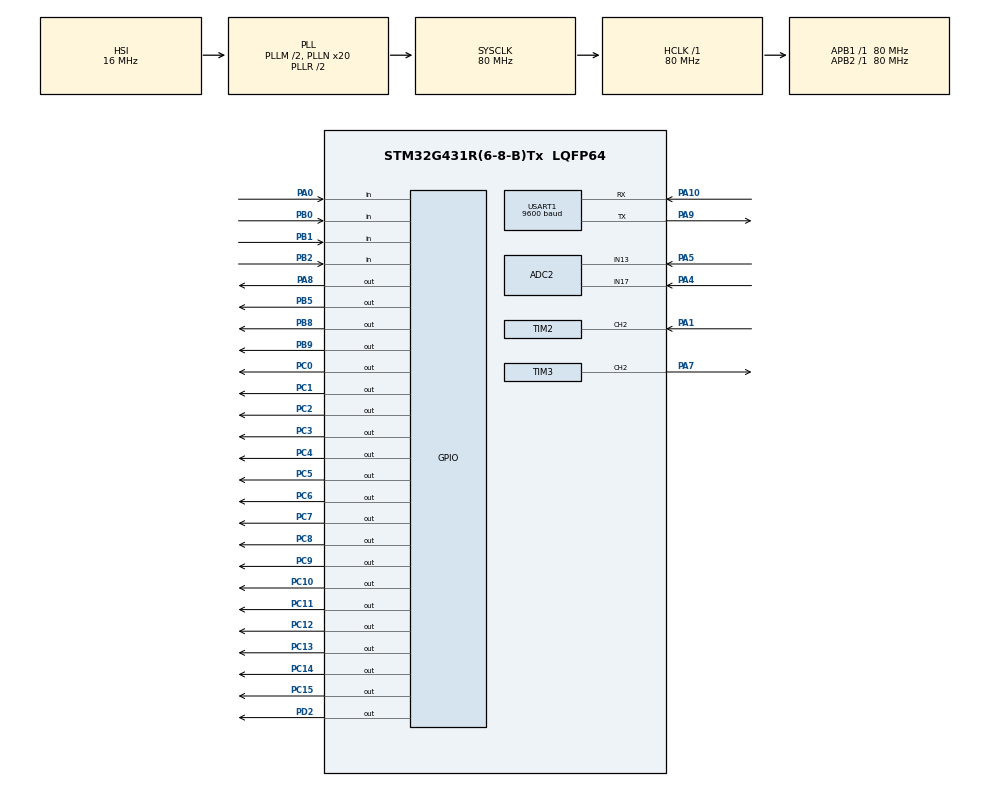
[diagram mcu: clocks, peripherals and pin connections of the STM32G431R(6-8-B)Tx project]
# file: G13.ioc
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ADC2.Channel-0\#ChannelRegularConversion=ADC_CHANNEL_17
ADC2.Channel-1\#ChannelRegularConversion=ADC_CHANNEL_13
ADC2.NbrOfConversion=2
ADC2.NbrOfConversionFlag=1
ADC2.OffsetNumber-0\#ChannelRegularConversion=ADC_OFFSET_NONE
ADC2.OffsetNumber-1\#ChannelRegularConversion=ADC_OFFSET_NONE
ADC2.Rank-0\#ChannelRegularConversion=1
ADC2.Rank-1\#ChannelRegularConversion=2
ADC2.SamplingTime-0\#ChannelRegularConversion=ADC_SAMPLETIME_640CYCLES_5
ADC2.SamplingTime-1\#ChannelRegularConversion=ADC_SAMPLETIME_640CYCLES_5
Mcu.Family=STM32G4
Mcu.Name=STM32G431R(6-8-B)Tx
Mcu.Package=LQFP64
NVIC.PriorityGroup=NVIC_PRIORITYGROUP_4
NVIC.TIM2_IRQn=true\:0\:0\:false\:false\:true\:true\:true\:true
NVIC.USART1_IRQn=true\:0\:0\:false\:false\:true\:true\:true\:true
PA0.Signal=GPIO_Input
PA1.Signal=S_TIM2_CH2
PA10.Mode=Asynchronous
PA10.Signal=USART1_RX
PA4.Mode=IN17-Single-Ended
PA4.Signal=ADC2_IN17
PA5.Mode=IN13-Single-Ended
PA5.Signal=ADC2_IN13
PA7.Signal=S_TIM3_CH2
PA8.Signal=GPIO_Output
PA9.Mode=Asynchronous
PA9.Signal=USART1_TX
PB0.Signal=GPIO_Input
PB1.Signal=GPIO_Input
PB2.Signal=GPIO_Input
PB5.Signal=GPIO_Output
PB8-BOOT0.Signal=GPIO_Output
PB9.Signal=GPIO_Output
PC0.Signal=GPIO_Output
PC1.Signal=GPIO_Output
PC10.Signal=GPIO_Output
PC11.Signal=GPIO_Output
PC12.Signal=GPIO_Output
PC13.Signal=GPIO_Output
PC14-OSC32_IN.Signal=GPIO_Output
PC15-OSC32_OUT.Signal=GPIO_Output
PC2.Signal=GPIO_Output
PC3.Signal=GPIO_Output
PC4.Signal=GPIO_Output
PC5.Signal=GPIO_Output
PC6.Signal=GPIO_Output
PC7.Signal=GPIO_Output
PC8.Signal=GPIO_Output
PC9.Signal=GPIO_Output
PD2.Signal=GPIO_Output
PF0-OSC_IN.Mode=HSE-External-Oscillator
PF0-OSC_IN.Signal=RCC_OSC_IN
PF1-OSC_OUT.Mode=HSE-External-Oscillator
PF1-OSC_OUT.Signal=RCC_OSC_OUT
ProjectManager.HeapSize=0x200
ProjectManager.StackSize=0x400
ProjectManager.TargetToolchain=MDK-ARM V5
RCC.ADC12Freq_Value=80000000
RCC.AHBFreq_Value=80000000
RCC.APB1Freq_Value=80000000
RCC.APB1TimFreq_Value=80000000
RCC.APB2Freq_Value=80000000
RCC.APB2TimFreq_Value=80000000
RCC.CortexFreq_Value=80000000
RCC.EXTERNAL_CLOCK_VALUE=12288000
RCC.HCLKFreq_Value=80000000
RCC.HSE_VALUE=24000000
RCC.HSI48_VALUE=48000000
RCC.HSI_VALUE=16000000
RCC.LSE_VALUE=32768
RCC.PLLM=RCC_PLLM_DIV2
RCC.PLLN=20
RCC.SYSCLKFreq_VALUE=80000000
RCC.SYSCLKSource=RCC_SYSCLKSOURCE_PLLCLK
RCC.USBFreq_Value=80000000
RCC.VCOOutputFreq_Value=160000000
SH.S_TIM2_CH2.0=TIM2_CH2,Input_Capture2_from_TI2
SH.S_TIM3_CH2.0=TIM3_CH2,PWM Generation2 CH2
TIM2.Channel-Input_Capture2_from_TI2=TIM_CHANNEL_2
TIM2.PeriodNoDither=\ 0xffffffff
TIM2.Prescaler=79
TIM3.AutoReloadPreload=TIM_AUTORELOAD_PRELOAD_ENABLE
TIM3.Channel-PWM\ Generation2\ CH2=TIM_CHANNEL_2
TIM3.PeriodNoDither=999
TIM3.Prescaler=79
TIM3.PulseNoDither_2=250
USART1.BaudRate=9600
USART1.VirtualMode-Asynchronous=VM_ASYNC
VP_SYS_VS_DBSignals.Mode=DisableDeadBatterySignals
board=custom

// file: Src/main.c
/* USER CODE BEGIN Header */
/**
  ******************************************************************************
  * @file           : main.c
  * @brief          : Main program body
  ******************************************************************************
  * @attention
  *
  * <h2><center>&copy; Copyright (c) 2021 STMicroelectronics.
  * All rights reserved.</center></h2>
  *
  * This software component is licensed by ST under BSD 3-Clause license,
  * the "License"; You may not use this file except in compliance with the
  * License. You may obtain a copy of the License at:
  *                        opensource.org/licenses/BSD-3-Clause
  *
  ******************************************************************************
  */
/* USER CODE END Header */

#include "main.h"
#include "adc.h"
#include "tim.h"
#include "usart.h"
#include "gpio.h"

/* USER CODE BEGIN Includes */
#include "stdio.h"
#include "string.h"
#include "key.h"
#include "led.h"
#include "i2c_hal.h"
/* USER CODE END Includes */

void SystemClock_Config(void);

/* USER CODE BEGIN 0 */

#define Display_DATA 0
#define Display_PARA 1
#define Display_REC 2

u8 display_mode = 0;

//1

double PA4_Temp = 0,PA5_Temp = 0;
extern double PA4_V;
extern double PA5_V;

//2

u8 X = 1;
u8 Y = 2;

//3

u8 N = 0;
double A = 3.20;
double T = 0.23;
double H = 1.75;
_Bool change_3;

//ohter

_Bool change_f = 0; // 0 倍频 1分频

//记录数组
double PA4_Buf[4][100];// 记录 0 原电压值 ，1 A,2 T,3 H
double PA5_Buf[4][100];

u8 PA4_cnt = 0;
u8 PA4_cnt2  = 0;

u8 PA5_cnt = 0;
u8 PA5_cnt2 = 0;

//LED
u8 led_ctrl = 0x00;
uint32_t ledTick = 0;

void Led_Proc(void)
{

	if(uwTick - ledTick <100)return;
	ledTick = uwTick;

	if(change_f == 0)
		led_ctrl |= 0x01;
	else
		led_ctrl &= ~0x01;

	if(change_f == 1)
		led_ctrl |= 0x02;
	else
		led_ctrl &= ~0x02;

	if(PA4_Temp > PA5_Temp * Y)
		led_ctrl ^= 0x04;
	else
		led_ctrl &=~0x04;

	Led_Control(led_ctrl);
}

//KEY

uint32_t longTick4 = 0;

uint32_t keyTick = 0;
void Key_Proc(void)
{
	if(uwTick - keyTick < 20)return;
	keyTick = uwTick;

	Key_Read();

	if(Trg & 0x01)
	{
		LCD_Clear(Black);
		display_mode = (display_mode + 1) % 3;

		change_f = 0;
	}

	if(Trg & 0x02)
	{
		if(display_mode == Display_PARA)
		{
			X++;
			if(X == 5)
				X = 1;
		EEPROM_Write(0x01,X);
		}
	}

	if(Trg & 0x04)
	{
		if(display_mode == Display_PARA)
		{
			Y++;
			if(Y == 5)
				Y = 1;
		 EEPROM_Write(0x02,Y);
		}
	}

	if(Trg & 0x08)
	{
		longTick4 = uwTick;
	}
	else if(Cont & 0x08 && uwTick - longTick4 > 1000)//长按
	{
		if(display_mode == Display_REC)
		{
			PA4_cnt = 0;
			PA4_cnt2 = 0;
			N = 0;
			memset(PA4_Buf,'\0',sizeof(PA4_Buf));
		}
	}
	else if(Up & 0x08 && uwTick - longTick4 < 1000) //短按
	{
		if(display_mode == Display_DATA)
		{

			PA4_Temp = PA4_V;
			PA5_Temp = PA5_V;

			//记录
			PA4_Buf[0][PA4_cnt2] = PA4_Temp;
			PA5_Buf[0][PA5_cnt2] = PA5_Temp;

			u8 i;
			double temp = 0,sum = 0;
			//最大值
			for(i = 0;i<= PA4_cnt;i++)
			{
				if(temp < PA4_Buf[0][i])
					temp = PA4_Buf[0][i];
			}
			PA4_Buf[1][0] = temp;

			//最小值
			temp = 3.3;
			for(i = 0;i<= PA4_cnt;i++)
			{
				if(temp > PA4_Buf[0][i])
					temp = PA4_Buf[0][i];
			}
			PA4_Buf[2][0] = temp;
			temp = 0;
			//平均值
			for(i = 0;i<= PA4_cnt;i++)
			{
					sum+= PA4_Buf[0][i];
			}

			PA4_Buf[3][0] = sum/(PA4_cnt+1); //99就满了
			sum = 0;

			PA4_cnt++;
			PA4_cnt2++;

			if(N<100)//记录次数   ---题目没有说明最多加到多少
				N++;
			if(PA4_cnt == 100) //考虑第一遍，用两个计数值。
				PA4_cnt = 99;

			if(PA4_cnt2 == 100)
				PA4_cnt2 = 0;

			//最大值

			for(i = 0;i<= PA5_cnt;i++)
			{
				if(temp < PA5_Buf[0][i])
					temp = PA5_Buf[0][i];
			}
			PA5_Buf[1][0] = temp;

			//最小值
			temp = 3.3;
			for(i = 0;i<= PA5_cnt;i++)
			{
				if(temp > PA5_Buf[0][i])
					temp = PA5_Buf[0][i];
			}
			PA5_Buf[2][0] = temp;
			temp = 0;
			//平均值
			sum = 0;
			for(i = 0;i<= PA5_cnt;i++)
			{
					sum+= PA5_Buf[0][i];
			}

			PA5_Buf[3][0] = sum/(PA5_cnt+1); //99就满了
			sum = 0;

			PA5_cnt++;
			PA5_cnt2++;

			if(PA5_cnt == 100)
				PA5_cnt = 99;

			if(PA5_cnt2 == 100)
				PA5_cnt2 = 0;
		}

		if(display_mode == Display_PARA)
		{
			change_f = !change_f;
		}

		if(display_mode == Display_REC)
		{
			change_3 = !change_3;
			LCD_Clear(Black);
		}

	}

}

//PA1
uint32_t uwIC2Value1 = 0;
uint32_t uwIC2Value2 = 0;
uint32_t uwDiffCapture = 0;

/* Capture index */
uint16_t uhCaptureIndex = 0;

/* Frequency Value */
uint32_t uwFrequency = 0;

uint32_t F_PA1;

void HAL_TIM_IC_CaptureCallback(TIM_HandleTypeDef *htim)
{
	if(htim == &htim2)
	{
		if (htim->Channel == HAL_TIM_ACTIVE_CHANNEL_2)
		{
			if(uhCaptureIndex == 0)
			{
				/* Get the 1st Input Capture value */
				uwIC2Value1 = HAL_TIM_ReadCapturedValue(htim, TIM_CHANNEL_2);
				uhCaptureIndex = 1;
			}
			else if(uhCaptureIndex == 1)
			{
				/* Get the 2nd Input Capture value */
				uwIC2Value2 = HAL_TIM_ReadCapturedValue(htim, TIM_CHANNEL_2);

				/* Capture computation */
				if (uwIC2Value2 > uwIC2Value1)
				{
					uwDiffCapture = (uwIC2Value2 - uwIC2Value1);
				}
				else if (uwIC2Value2 < uwIC2Value1)
				{
					/* 0xFFFF is max TIM1_CCRx value */
					uwDiffCapture = ((0xFFFFFFFF - uwIC2Value1) + uwIC2Value2) + 1;
				}
				else
				{
					/* If capture values are equal, we have reached the limit of frequency
						 measures */
					Error_Handler();
				}

				/* Frequency computation: for this example TIMx (TIM1) is clocked by
					 APB2Clk */
				F_PA1 = 1e6/uwDiffCapture;
				uhCaptureIndex = 0;
			}
		}

	}

}

//PA7

uint32_t F_PA7 = 8000;
double D_PA7 = 0.5;
void PWM_Proc(void)
{

	if(change_f == 0)//倍频
	{
		F_PA7 = F_PA1 * X;
	}
	else
	{
		F_PA7 = F_PA1*1.0 / X;
	}

	TIM3->ARR = 1e6/F_PA7 - 1;
	TIM3->CCR2 = (TIM3->ARR + 1)*D_PA7;

}

//UART

//TX
int fputc(int ch, FILE *f)
{
  /* Your implementation of fputc(). */
	HAL_UART_Transmit(&huart1,(u8 *)&ch,1,50);
  return ch;
}

//RX
u8 uart_buf[2];
u8 rx_buf[100];
int rx_cnt = 0;

uint32_t uartTick = 0;
_Bool fz = 0;
void Rx_Idle(void) //以后这个函数可以作为串口接收处理函数
{
	if(uwTick - uartTick < 50)return;
	uartTick = uwTick;

	if(rx_cnt > 0) //一次性接收完成
	{
		if(rx_cnt == 3) //确保发送的为一个字符,题目没有说明发送给单片机回车，就肯定不发回车
		{
				if(rx_buf[0] == 'X' && rx_buf[1] == 0x0d && rx_buf[2] == 0x0a) //考虑回车情况下
			{
				printf("X:%d\r\n",X);
			}
			if(rx_buf[0] == 'Y')
			{
				printf("Y:%d\r\n",Y);
			}

			if(rx_buf[0] == '#')
			{
				fz = !fz;

				if(fz == 0)
				{
					LCD_Clear(Black);
					//正向显示
					LCD_WriteReg(R1,0x0000); //从上往下
					LCD_WriteReg(R96,0x2700);//从左往右

					led_ctrl |= 0x08;

				}
				else
				{
					LCD_Clear(Black);
					//反向显示
					LCD_WriteReg(R1,0x0100);
					LCD_WriteReg(R96,0xA700);

				  led_ctrl &= ~0x08;
				}
			}
		}

		if(rx_cnt == 3) //确保发送的为一个字符，考虑是否会接受回车
		{
				if(rx_buf[0] == 'P' && rx_buf[1] == 'A' && rx_buf[2] == '1')
			{
				printf("PA1:%d\r\n",F_PA1);
			}

				if(rx_buf[0] == 'P' && rx_buf[1] == 'A' && rx_buf[2] == '4')
			{
				printf("PA4:%4.2f\r\n",PA4_V);
			}

				if(rx_buf[0] == 'P' && rx_buf[1] == 'A' && rx_buf[2] == '5')
			{
				printf("PA5:%4.2f\r\n",PA5_V);
			}
		}

		rx_cnt = 0;
		memset(rx_buf,'\0',sizeof(rx_buf));
	}
}

void HAL_UART_RxCpltCallback(UART_HandleTypeDef *huart)
{
	uartTick = uwTick;
	HAL_UART_Receive_IT(&huart1,uart_buf,1);

	rx_buf[rx_cnt++] = uart_buf[0];

//	if(rx_cnt > 0) //开始判断
//	{
//
//
//	}

}

//ADC

u32 adc_val1,adc_val2;

double PA4_V,PA5_V;
void ADC_Proc(void)
{
	HAL_ADC_Start(&hadc2);
	adc_val1 = HAL_ADC_GetValue(&hadc2);
	PA4_V = adc_val1/4095.0 * 3.3;

	HAL_ADC_Start(&hadc2);
	adc_val2 = HAL_ADC_GetValue(&hadc2);
	PA5_V = adc_val2/4095.0 * 3.3;
}

//LCD
uint32_t lcdTick = 0;
void LCD_Proc(void)
{
	if(uwTick - lcdTick < 100)return;
	lcdTick = uwTick;

	ADC_Proc();

	u8 display_buf[30];

	if(display_mode == 0)
	{
		sprintf((char*)display_buf,"        DATA ");
		LCD_DisplayStringLine(Line1,display_buf);

		sprintf((char*)display_buf,"     PA4=%4.2f   ",PA4_Temp);
		LCD_DisplayStringLine(Line3,display_buf);

		sprintf((char*)display_buf,"     PA5=%4.2f   ",PA5_Temp);
		LCD_DisplayStringLine(Line4,display_buf);

		sprintf((char*)display_buf,"     PA1=%d          ",F_PA1);
		LCD_DisplayStringLine(Line5,display_buf);
	}

	if(display_mode == 1)
	{
		sprintf((char*)display_buf,"        PARA ");
		LCD_DisplayStringLine(Line1,display_buf);

		sprintf((char*)display_buf,"     X=%d ",X);
		LCD_DisplayStringLine(Line3,display_buf);

		sprintf((char*)display_buf,"     Y=%d ",Y);
		LCD_DisplayStringLine(Line4,display_buf);

	}

	if(display_mode == 2)
	{
		if(change_3 == 0)
		{

			sprintf((char*)display_buf,"        REC-PA4");
			LCD_DisplayStringLine(Line1,display_buf);

			sprintf((char*)display_buf,"     N=%d   ",N);
			LCD_DisplayStringLine(Line3,display_buf);

			sprintf((char*)display_buf,"     A=%4.2f  ",PA4_Buf[1][0]);
			LCD_DisplayStringLine(Line4,display_buf);

			sprintf((char*)display_buf,"     T=%4.2f  ",PA4_Buf[2][0]);
			LCD_DisplayStringLine(Line5,display_buf);

			sprintf((char*)display_buf,"     H=%4.2f  ",PA4_Buf[3][0]);
			LCD_DisplayStringLine(Line6,display_buf);
		}
		else
		{
			sprintf((char*)display_buf,"        REC-PA5");
			LCD_DisplayStringLine(Line1,display_buf);

			sprintf((char*)display_buf,"     N=%d   ",N);
			LCD_DisplayStringLine(Line3,display_buf);

			sprintf((char*)display_buf,"     A=%4.2f  ",PA5_Buf[1][0]);
			LCD_DisplayStringLine(Line4,display_buf);

			sprintf((char*)display_buf,"     T=%4.2f  ",PA5_Buf[2][0]);
			LCD_DisplayStringLine(Line5,display_buf);

			sprintf((char*)display_buf,"     H=%4.2f  ",PA5_Buf[3][0]);
			LCD_DisplayStringLine(Line6,display_buf);
		}

	}

}

/* USER CODE END 0 */

int main(void)
{

  /* MCU Configuration--------------------------------------------------------*/

  /* Reset of all peripherals, Initializes the Flash interface and the Systick. */
  HAL_Init();

  /* Configure the system clock */
  SystemClock_Config();

  /* Initialize all configured peripherals */
  MX_GPIO_Init();
  MX_ADC2_Init();
  MX_TIM2_Init();
  MX_TIM3_Init();
  MX_USART1_UART_Init();
  /* USER CODE BEGIN 2 */

    LCD_Init();

		//IC_T2C2
		HAL_TIM_IC_Start_IT(&htim2,TIM_CHANNEL_2);

		//PWM
		HAL_TIM_PWM_Start(&htim3,TIM_CHANNEL_2);

		//UART
		HAL_UART_Receive_IT(&huart1,uart_buf,1);

		//EEPROM
		I2CInit();

//		if(EEPROM_Read(0x00) != 123)
//		{
//			EEPROM_Write(0x00,123);
//			EEPROM_Write(0x01,1);
//			EEPROM_Write(0x02,2);
//		}
//
//		X = EEPROM_Read(0x01);
//		Y = EEPROM_Read(0x02);

		EEPROM_Write(0x00,0);
		EEPROM_Write(0x01,0);
		EEPROM_Write(0x02,0);

  /* USER CODE END 2 */

  /* Infinite loop */
  /* USER CODE BEGIN WHILE */

    LCD_Clear(Black);
    LCD_SetBackColor(Black);
    LCD_SetTextColor(White);

//    LCD_DrawLine(120, 0, 320, Horizontal);
//    LCD_DrawLine(0, 160, 240, Vertical);
//    HAL_Delay(1000);
//    LCD_Clear(Blue);

//    LCD_DrawRect(70, 210, 100, 100);
//    HAL_Delay(1000);
//    LCD_Clear(Blue);

//    LCD_DrawCircle(120, 160, 50);
//    HAL_Delay(1000);

//    LCD_Clear(Blue);
//    LCD_DisplayStringLine(Line4, (unsigned char *)"    Hello,world.   ");
//    HAL_Delay(1000);

//    LCD_SetBackColor(White);
//    LCD_DisplayStringLine(Line0, (unsigned char *)"                    ");
//    LCD_SetBackColor(Black);
//    LCD_DisplayStringLine(Line1, (unsigned char *)"                    ");
//    LCD_SetBackColor(Grey);
//    LCD_DisplayStringLine(Line2, (unsigned char *)"                    ");
//    LCD_SetBackColor(Blue);
//    LCD_DisplayStringLine(Line3, (unsigned char *)"                    ");
//    LCD_SetBackColor(Blue2);
//    LCD_DisplayStringLine(Line4, (unsigned char *)"                    ");
//    LCD_SetBackColor(Red);
//    LCD_DisplayStringLine(Line5, (unsigned char *)"                    ");
//    LCD_SetBackColor(Magenta);
//    LCD_DisplayStringLine(Line6, (unsigned char *)"                    ");
//    LCD_SetBackColor(Green);
//    LCD_DisplayStringLine(Line7, (unsigned char *)"                    ");
//    LCD_SetBackColor(Cyan);
//    LCD_DisplayStringLine(Line8, (unsigned char *)"                    ");
//    LCD_SetBackColor(Yellow);
//    LCD_DisplayStringLine(Line9, (unsigned char *)"                    ");
		Led_Control(0x00);
		//printf("你好\r\n"); //有时候串口不行，可以用来激活串口
    while (1)
    {
    /* USER CODE END WHILE */

    /* USER CODE BEGIN 3 */
			Key_Proc();
			LCD_Proc();
			PWM_Proc();
			Rx_Idle();
			Led_Proc();
    }
  /* USER CODE END 3 */
}

void SystemClock_Config(void)
{
  RCC_OscInitTypeDef RCC_OscInitStruct = {0};
  RCC_ClkInitTypeDef RCC_ClkInitStruct = {0};
  RCC_PeriphCLKInitTypeDef PeriphClkInit = {0};

  /** Configure the main internal regulator output voltage
  */
  HAL_PWREx_ControlVoltageScaling(PWR_REGULATOR_VOLTAGE_SCALE1);
  /** Initializes the CPU, AHB and APB busses clocks
  */
  RCC_OscInitStruct.OscillatorType = RCC_OSCILLATORTYPE_HSI;
  RCC_OscInitStruct.HSIState = RCC_HSI_ON;
  RCC_OscInitStruct.HSICalibrationValue = RCC_HSICALIBRATION_DEFAULT;
  RCC_OscInitStruct.PLL.PLLState = RCC_PLL_ON;
  RCC_OscInitStruct.PLL.PLLSource = RCC_PLLSOURCE_HSI;
  RCC_OscInitStruct.PLL.PLLM = RCC_PLLM_DIV2;
  RCC_OscInitStruct.PLL.PLLN = 20;
  RCC_OscInitStruct.PLL.PLLP = RCC_PLLP_DIV2;
  RCC_OscInitStruct.PLL.PLLQ = RCC_PLLQ_DIV2;
  RCC_OscInitStruct.PLL.PLLR = RCC_PLLR_DIV2;
  if (HAL_RCC_OscConfig(&RCC_OscInitStruct) != HAL_OK)
  {
    Error_Handler();
  }
  /** Initializes the CPU, AHB and APB busses clocks
  */
  RCC_ClkInitStruct.ClockType = RCC_CLOCKTYPE_HCLK|RCC_CLOCKTYPE_SYSCLK
                              |RCC_CLOCKTYPE_PCLK1|RCC_CLOCKTYPE_PCLK2;
  RCC_ClkInitStruct.SYSCLKSource = RCC_SYSCLKSOURCE_PLLCLK;
  RCC_ClkInitStruct.AHBCLKDivider = RCC_SYSCLK_DIV1;
  RCC_ClkInitStruct.APB1CLKDivider = RCC_HCLK_DIV1;
  RCC_ClkInitStruct.APB2CLKDivider = RCC_HCLK_DIV1;

  if (HAL_RCC_ClockConfig(&RCC_ClkInitStruct, FLASH_LATENCY_3) != HAL_OK)
  {
    Error_Handler();
  }
  /** Initializes the peripherals clocks
  */
  PeriphClkInit.PeriphClockSelection = RCC_PERIPHCLK_USART1|RCC_PERIPHCLK_ADC12;
  PeriphClkInit.Usart1ClockSelection = RCC_USART1CLKSOURCE_PCLK2;
  PeriphClkInit.Adc12ClockSelection = RCC_ADC12CLKSOURCE_SYSCLK;
  if (HAL_RCCEx_PeriphCLKConfig(&PeriphClkInit) != HAL_OK)
  {
    Error_Handler();
  }
}

void Error_Handler(void)
{
}

/************************ (C) COPYRIGHT STMicroelectronics *****END OF FILE****/
